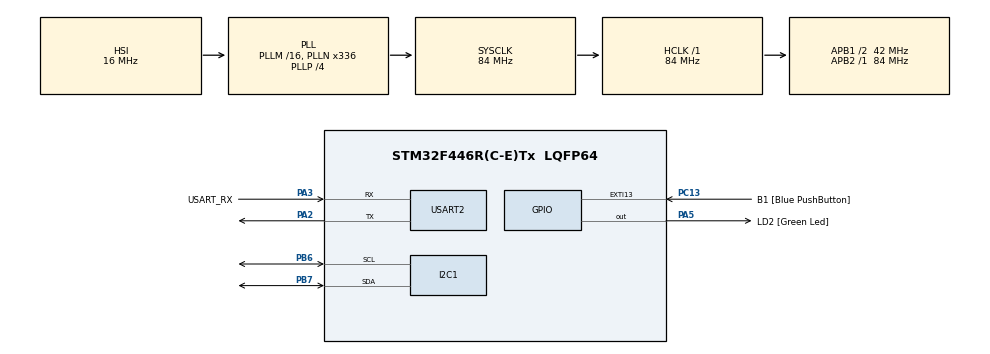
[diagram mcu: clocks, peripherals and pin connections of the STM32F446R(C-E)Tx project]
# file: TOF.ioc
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Mcu.Family=STM32F4
Mcu.Name=STM32F446R(C-E)Tx
Mcu.Package=LQFP64
NVIC.I2C1_ER_IRQn=true\:0\:0\:false\:false\:true\:true\:true\:true
NVIC.I2C1_EV_IRQn=true\:0\:0\:false\:false\:true\:true\:true\:true
NVIC.PriorityGroup=NVIC_PRIORITYGROUP_0
PA13.GPIO_Label=TMS
PA13.Signal=SYS_JTMS-SWDIO
PA14.GPIO_Label=TCK
PA14.Signal=SYS_JTCK-SWCLK
PA2.Mode=Asynchronous
PA2.Signal=USART2_TX
PA3.GPIO_Label=USART_RX
PA3.Mode=Asynchronous
PA3.Signal=USART2_RX
PA5.GPIO_Label=LD2 [Green Led]
PA5.Signal=GPIO_Output
PB3.GPIO_Label=SWO
PB3.Signal=SYS_JTDO-SWO
PB6.Mode=I2C
PB6.Signal=I2C1_SCL
PB7.Mode=I2C
PB7.Signal=I2C1_SDA
PC13.GPIO_Label=B1 [Blue PushButton]
PC13.GPIO_ModeDefaultEXTI=GPIO_MODE_IT_FALLING
PC13.Signal=GPXTI13
PC14-OSC32_IN.Signal=RCC_OSC32_IN
PC15-OSC32_OUT.Signal=RCC_OSC32_OUT
PH0-OSC_IN.Signal=RCC_OSC_IN
PH1-OSC_OUT.Signal=RCC_OSC_OUT
ProjectManager.HeapSize=0x200
ProjectManager.StackSize=0x400
ProjectManager.TargetToolchain=STM32CubeIDE
RCC.AHBFreq_Value=84000000
RCC.APB1CLKDivider=RCC_HCLK_DIV2
RCC.APB1Freq_Value=42000000
RCC.APB1TimFreq_Value=84000000
RCC.APB2Freq_Value=84000000
RCC.APB2TimFreq_Value=84000000
RCC.CortexFreq_Value=84000000
RCC.FLatency-AdvancedSettings=FLASH_LATENCY_2
RCC.HCLKFreq_Value=84000000
RCC.HSE_VALUE=8000000
RCC.HSI_VALUE=16000000
RCC.LSE_VALUE=32768
RCC.PLLN=336
RCC.PLLP=RCC_PLLP_DIV4
RCC.SYSCLKFreq_VALUE=84000000
RCC.SYSCLKSource=RCC_SYSCLKSOURCE_PLLCLK
RCC.USBFreq_Value=168000000
RCC.VCOOutputFreq_Value=336000000
USART2.VirtualMode=VM_ASYNC
board=NUCLEO-F446RE

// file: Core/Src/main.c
/* USER CODE BEGIN Header */
/**
  ******************************************************************************
  * @file           : main.c
  * @brief          : Main program body
  ******************************************************************************
  * @attention
  *
  * Copyright (c) 2025 STMicroelectronics.
  * All rights reserved.
  *
  * This software is licensed under terms that can be found in the LICENSE file
  * in the root directory of this software component.
  * If no LICENSE file comes with this software, it is provided AS-IS.
  *
  ******************************************************************************
  */
/* USER CODE END Header */
#include "main.h"

/* USER CODE BEGIN Includes */
#include "VL6180x_api.h"
#include "VL6180x_platform.h"
#include <stdio.h>
/* USER CODE END Includes */

I2C_HandleTypeDef hi2c1;

UART_HandleTypeDef huart2;

/* USER CODE BEGIN PV */
int __io_putchar(int ch) {
    HAL_UART_Transmit(&huart2, (uint8_t *)&ch, 1, HAL_MAX_DELAY);
    return ch;
}
/* USER CODE END PV */

void SystemClock_Config(void);
static void MX_GPIO_Init(void);
static void MX_USART2_UART_Init(void);
static void MX_I2C1_Init(void);

int main(void)
{

  /* MCU Configuration--------------------------------------------------------*/

  /* Reset of all peripherals, Initializes the Flash interface and the Systick. */
  HAL_Init();

  /* Configure the system clock */
  SystemClock_Config();

  /* Initialize all configured peripherals */
  MX_GPIO_Init();
  MX_USART2_UART_Init();
  MX_I2C1_Init();
  /* USER CODE BEGIN 2 */

  VL6180xDev_t dev = {.I2cAddr = 0x29};
  VL6180x_Init(&dev);
  VL6180x_Prepare(&dev);
  VL6180x_SetOffset(&dev, 0);
  char uart_buf[50];

  /* USER CODE END 2 */

  /* Infinite loop */
  /* USER CODE BEGIN WHILE */
  while (1)
  {
      uint8_t range;
      int status = VL6180x_RangePollMeasurement(&dev, &range);
      if (status == 0) {
   	   int len = snprintf(uart_buf, sizeof(uart_buf), "Distance: %d mm\r\n", range);
   		HAL_UART_Transmit(&huart2, (uint8_t *)uart_buf, len, HAL_MAX_DELAY);
      } else {
   	   int len = snprintf(uart_buf, sizeof(uart_buf), "Reading error: %d\r\n", status);
   		HAL_UART_Transmit(&huart2, (uint8_t *)uart_buf, len, HAL_MAX_DELAY);
      }
      HAL_Delay(50);

    /* USER CODE END WHILE */

  }
}

void SystemClock_Config(void)
{
  RCC_OscInitTypeDef RCC_OscInitStruct = {0};
  RCC_ClkInitTypeDef RCC_ClkInitStruct = {0};

  /** Configure the main internal regulator output voltage
  */
  __HAL_RCC_PWR_CLK_ENABLE();
  __HAL_PWR_VOLTAGESCALING_CONFIG(PWR_REGULATOR_VOLTAGE_SCALE3);

  /** Initializes the RCC Oscillators according to the specified parameters
  * in the RCC_OscInitTypeDef structure.
  */
  RCC_OscInitStruct.OscillatorType = RCC_OSCILLATORTYPE_HSI;
  RCC_OscInitStruct.HSIState = RCC_HSI_ON;
  RCC_OscInitStruct.HSICalibrationValue = RCC_HSICALIBRATION_DEFAULT;
  RCC_OscInitStruct.PLL.PLLState = RCC_PLL_ON;
  RCC_OscInitStruct.PLL.PLLSource = RCC_PLLSOURCE_HSI;
  RCC_OscInitStruct.PLL.PLLM = 16;
  RCC_OscInitStruct.PLL.PLLN = 336;
  RCC_OscInitStruct.PLL.PLLP = RCC_PLLP_DIV4;
  RCC_OscInitStruct.PLL.PLLQ = 2;
  RCC_OscInitStruct.PLL.PLLR = 2;
  if (HAL_RCC_OscConfig(&RCC_OscInitStruct) != HAL_OK)
  {
    Error_Handler();
  }

  /** Initializes the CPU, AHB and APB buses clocks
  */
  RCC_ClkInitStruct.ClockType = RCC_CLOCKTYPE_HCLK|RCC_CLOCKTYPE_SYSCLK
                              |RCC_CLOCKTYPE_PCLK1|RCC_CLOCKTYPE_PCLK2;
  RCC_ClkInitStruct.SYSCLKSource = RCC_SYSCLKSOURCE_PLLCLK;
  RCC_ClkInitStruct.AHBCLKDivider = RCC_SYSCLK_DIV1;
  RCC_ClkInitStruct.APB1CLKDivider = RCC_HCLK_DIV2;
  RCC_ClkInitStruct.APB2CLKDivider = RCC_HCLK_DIV1;

  if (HAL_RCC_ClockConfig(&RCC_ClkInitStruct, FLASH_LATENCY_2) != HAL_OK)
  {
    Error_Handler();
  }
}

static void MX_I2C1_Init(void)
{

  hi2c1.Instance = I2C1;
  hi2c1.Init.ClockSpeed = 100000;
  hi2c1.Init.DutyCycle = I2C_DUTYCYCLE_2;
  hi2c1.Init.OwnAddress1 = 0;
  hi2c1.Init.AddressingMode = I2C_ADDRESSINGMODE_7BIT;
  hi2c1.Init.DualAddressMode = I2C_DUALADDRESS_DISABLE;
  hi2c1.Init.OwnAddress2 = 0;
  hi2c1.Init.GeneralCallMode = I2C_GENERALCALL_DISABLE;
  hi2c1.Init.NoStretchMode = I2C_NOSTRETCH_DISABLE;
  if (HAL_I2C_Init(&hi2c1) != HAL_OK)
  {
    Error_Handler();
  }

}

static void MX_USART2_UART_Init(void)
{

  huart2.Instance = USART2;
  huart2.Init.BaudRate = 115200;
  huart2.Init.WordLength = UART_WORDLENGTH_8B;
  huart2.Init.StopBits = UART_STOPBITS_1;
  huart2.Init.Parity = UART_PARITY_NONE;
  huart2.Init.Mode = UART_MODE_TX_RX;
  huart2.Init.HwFlowCtl = UART_HWCONTROL_NONE;
  huart2.Init.OverSampling = UART_OVERSAMPLING_16;
  if (HAL_UART_Init(&huart2) != HAL_OK)
  {
    Error_Handler();
  }

}

static void MX_GPIO_Init(void)
{
  GPIO_InitTypeDef GPIO_InitStruct = {0};

  /* GPIO Ports Clock Enable */
  __HAL_RCC_GPIOC_CLK_ENABLE();
  __HAL_RCC_GPIOH_CLK_ENABLE();
  __HAL_RCC_GPIOA_CLK_ENABLE();
  __HAL_RCC_GPIOB_CLK_ENABLE();

  /*Configure GPIO pin Output Level */
  HAL_GPIO_WritePin(LD2_GPIO_Port, LD2_Pin, GPIO_PIN_RESET);

  /*Configure GPIO pin : B1_Pin */
  GPIO_InitStruct.Pin = B1_Pin;
  GPIO_InitStruct.Mode = GPIO_MODE_IT_FALLING;
  GPIO_InitStruct.Pull = GPIO_NOPULL;
  HAL_GPIO_Init(B1_GPIO_Port, &GPIO_InitStruct);

  /*Configure GPIO pin : LD2_Pin */
  GPIO_InitStruct.Pin = LD2_Pin;
  GPIO_InitStruct.Mode = GPIO_MODE_OUTPUT_PP;
  GPIO_InitStruct.Pull = GPIO_NOPULL;
  GPIO_InitStruct.Speed = GPIO_SPEED_FREQ_LOW;
  HAL_GPIO_Init(LD2_GPIO_Port, &GPIO_InitStruct);

}

void Error_Handler(void)
{
  __disable_irq();
  while (1)
  {
  }
}
